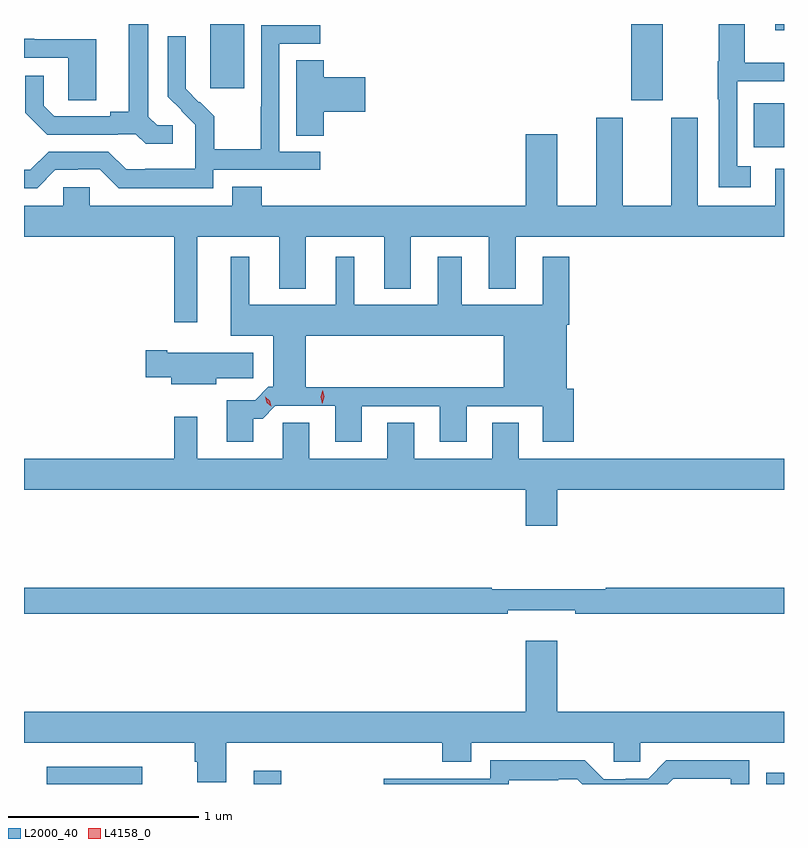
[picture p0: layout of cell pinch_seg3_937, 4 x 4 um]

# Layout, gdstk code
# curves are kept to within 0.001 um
import gdstk
lib = gdstk.Library(unit=1e-6, precision=1e-09)
def R(c, l, rs):  # rectangles x0, y0, x1, y1
    for r in rs: c.add(gdstk.rectangle(r[:2], r[2:], *l))
def P(c, l, *ps):  # polygons
    for p in ps: c.add(gdstk.Polygon(p, *l))
L2000_40 = (2000, 40)
L4158_0 = (4158, 0)

pinch_seg3_937 = lib.new_cell('pinch_seg3_937')
R(pinch_seg3_937, L2000_40, [(546.101,711.356,546.604,711.448), (547.19,711.356,547.337,711.427), (549.889,711.356,549.982,711.415), (549.824,714.707,549.982,714.94), (549.179,714.954,549.343,715.356), (546.962,715.017,547.141,715.356), (549.935,715.323,549.982,715.356)])
P(pinch_seg3_937, L2000_40, [(546.766,714.822),(546.684,714.822),(546.637,714.869),(546.637,715.356),(546.533,715.356),(546.533,714.893),(546.437,714.893),(546.437,714.87),(546.142,714.87),(546.085,714.927),(546.085,715.084),(545.988,715.084),(545.988,714.89),(546.104,714.774),(546.476,714.774),(546.476,714.777),(546.57,714.777),(546.622,714.725),(546.766,714.725)],
  [(549.808,714.607),(549.735,714.607),(549.735,715.056),(549.982,715.056),(549.982,715.153),(549.775,715.153),(549.775,715.356),(549.638,715.356),(549.638,715.159),(549.634,715.159),(549.634,714.959),(549.639,714.959),(549.639,714.498),(549.808,714.498)],
  [(546.978,714.588),(547.54,714.588),(547.54,714.684),(547.326,714.684),(547.326,715.251),(547.54,715.251),(547.54,715.35),(547.23,715.35),(547.23,714.92),(547.228,714.92),(547.228,714.697),(546.983,714.697),(546.983,714.871),(546.906,714.948),(546.903,714.945),(546.833,715.016),(546.834,715.292),(546.738,715.292),(546.738,714.974),(546.884,714.826),(546.884,714.729),(546.882,714.729),(546.882,714.595),(546.619,714.595),(546.619,714.591),(546.519,714.591),(546.426,714.684),(546.111,714.684),(546.015,714.588),(545.982,714.588),(545.982,714.492),(546.051,714.492),(546.147,714.588),(546.266,714.588),(546.266,714.591),(546.381,714.591),(546.481,714.491),(546.978,714.491)],
  [(546.361,715.275),(546.037,715.275),(546.037,715.279),(545.982,715.279),(545.982,715.179),(546.216,715.179),(546.216,714.955),(546.361,714.955)],
  [(547.559,714.893),(547.777,714.893),(547.777,715.076),(547.559,715.076),(547.559,715.166),(547.415,715.166),(547.415,714.769),(547.559,714.769)],
  [(546.895,714.236),(547.325,714.236),(547.325,713.963),(547.465,713.963),(547.465,714.236),(547.877,714.236),(547.877,713.963),(548.017,713.963),(548.017,714.236),(548.429,714.236),(548.429,713.963),(548.569,713.963),(548.569,714.236),(549.982,714.236),(549.982,714.595),(549.935,714.595),(549.935,714.4),(549.529,714.4),(549.529,714.862),(549.389,714.862),(549.389,714.4),(549.133,714.4),(549.133,714.862),(548.993,714.862),(548.993,714.4),(548.788,714.4),(548.788,714.775),(548.624,714.775),(548.624,714.4),(547.232,714.4),(547.232,714.499),(547.079,714.499),(547.079,714.4),(546.327,714.4),(546.327,714.498),(546.189,714.498),(546.189,714.4),(545.982,714.4),(545.982,714.236),(546.774,714.236),(546.774,713.787),(546.895,713.787)],
  [(547.049,713.377),(547.049,713.157),(547.189,713.157),(547.189,713.279),(547.238,713.279),(547.305,713.346),(547.619,713.346),(547.619,713.157),(547.759,713.157),(547.759,713.343),(548.171,713.343),(548.171,713.157),(548.311,713.157),(548.311,713.343),(548.711,713.343),(548.711,713.157),(548.876,713.157),(548.876,713.436),(548.839,713.436),(548.839,713.774),(548.852,713.774),(548.852,714.13),(548.711,714.13),(548.711,713.878),(548.287,713.878),(548.287,714.13),(548.159,714.13),(548.159,713.878),(547.72,713.878),(547.72,714.13),(547.622,714.13),(547.622,713.878),(547.168,713.878),(547.168,714.13),(547.07,714.13),(547.07,713.714),(547.295,713.714),(547.295,713.447),(547.268,713.447),(547.265,713.444),(547.466,713.444),(547.466,713.714),(548.507,713.714),(548.507,713.444),(547.265,713.444),(547.198,713.377)],
  [(546.994,713.491),(547.189,713.491),(547.189,713.626),(546.736,713.626),(546.736,713.639),(546.624,713.639),(546.624,713.497),(546.758,713.497),(546.758,713.459),(546.994,713.459)],
  [(548.788,712.904),(549.982,712.904),(549.982,713.068),(548.587,713.068),(548.587,713.258),(548.447,713.258),(548.447,713.068),(548.035,713.068),(548.035,713.258),(547.895,713.258),(547.895,713.068),(547.483,713.068),(547.483,713.258),(547.344,713.258),(547.344,713.068),(546.895,713.068),(546.895,713.29),(546.774,713.29),(546.774,713.068),(545.982,713.068),(545.982,712.904),(548.624,712.904),(548.624,712.716),(548.788,712.716)],
  [(548.528,712.271),(548.884,712.271),(548.884,712.252),(549.982,712.252),(549.982,712.388),(549.045,712.388),(549.045,712.381),(548.445,712.381),(548.445,712.388),(545.982,712.388),(545.982,712.252),(548.528,712.252)],
  [(547.046,711.572),(548.183,711.572),(548.183,711.473),(548.335,711.473),(548.335,711.572),(549.087,711.572),(549.087,711.474),(549.225,711.474),(549.225,711.572),(549.982,711.572),(549.982,711.736),(548.788,711.736),(548.788,712.111),(548.624,712.111),(548.624,711.736),(545.982,711.736),(545.982,711.572),(546.881,711.572),(546.881,711.473),(546.893,711.473),(546.893,711.364),(547.046,711.364)],
  [(548.532,711.377),(548.795,711.377),(548.795,711.381),(548.895,711.381),(548.92,711.356),(549.371,711.356),(549.399,711.384),(549.702,711.384),(549.702,711.356),(549.798,711.356),(549.798,711.48),(549.363,711.48),(549.267,711.384),(549.149,711.384),(549.149,711.381),(549.033,711.381),(548.933,711.481),(548.436,711.481),(548.436,711.384),(547.875,711.384),(547.875,711.356),(548.532,711.356)])
P(pinch_seg3_937, L4158_0, [(547.551,713.358),(547.551,713.358),(547.543,713.394),(547.555,713.429),(547.555,713.429),(547.555,713.429),(547.563,713.393),(547.551,713.358)],
  [(547.283,713.344),(547.283,713.344),(547.259,713.363),(547.252,713.393),(547.252,713.393),(547.252,713.393),(547.276,713.374),(547.283,713.344)])

lib.write_gds('pinch_seg3_937.gds')
